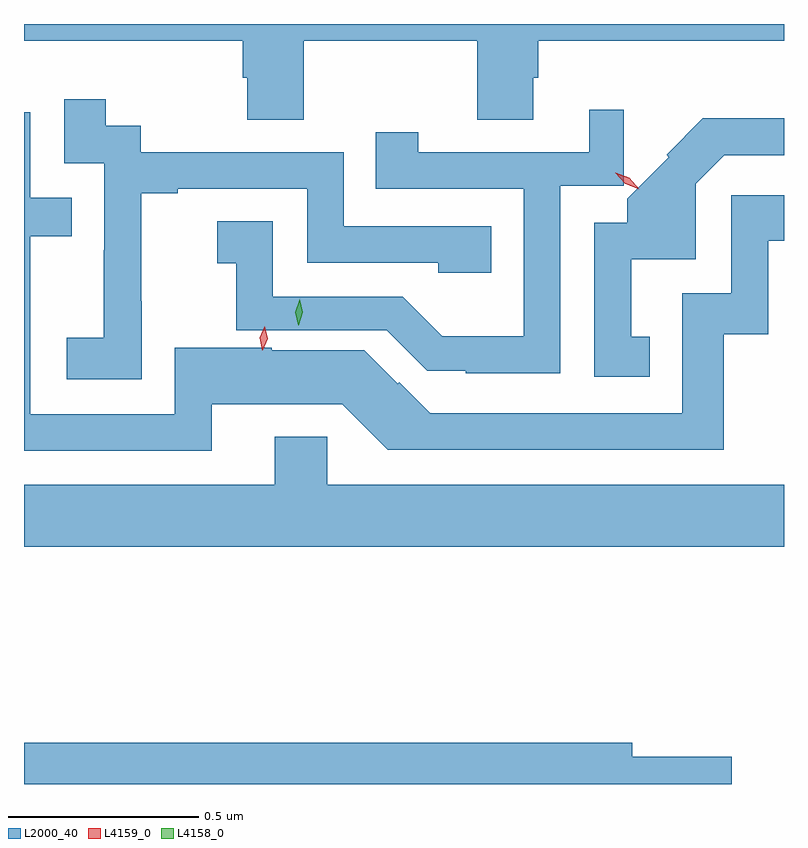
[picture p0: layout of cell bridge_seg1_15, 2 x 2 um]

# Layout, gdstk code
import gdstk
lib = gdstk.Library(unit=1e-6, precision=1e-09)
def P(c, l, *ps):  # polygons
    for p in ps: c.add(gdstk.Polygon(p, *l))
L2000_40 = (2000, 40)
L4158_0 = (4158, 0)
L4159_0 = (4159, 0)

bridge_seg1_15 = lib.new_cell('bridge_seg1_15')
P(bridge_seg1_15, L2000_40, [(842.151,511.772),(842.608,511.772),(842.608,511.564),(842.755,511.564),(842.755,511.674),(842.768,511.674),(842.768,511.772),(843.415,511.772),(843.415,511.816),(841.415,511.816),(841.415,511.772),(841.991,511.772),(841.991,511.674),(842.003,511.674),(842.003,511.564),(842.151,511.564)],
  [(841.725,511.087),(841.724,511.087),(841.724,511.371),(841.819,511.371),(841.819,511.383),(842.16,511.383),(842.16,511.188),(842.505,511.188),(842.505,511.161),(842.645,511.161),(842.645,511.284),(842.256,511.284),(842.256,511.479),(841.722,511.479),(841.722,511.548),(841.63,511.548),(841.63,511.618),(841.521,511.618),(841.521,511.449),(841.626,511.449),(841.626,511.22),(841.625,511.22),(841.625,510.991),(841.527,510.991),(841.527,510.881),(841.725,510.881)],
  [(842.826,511.391),(842.993,511.391),(842.993,511.591),(842.903,511.591),(842.903,511.479),(842.452,511.479),(842.452,511.531),(842.341,511.531),(842.341,511.383),(842.73,511.383),(842.73,510.994),(842.516,510.994),(842.412,511.098),(842.07,511.098),(842.07,511.297),(841.923,511.297),(841.923,511.187),(841.974,511.187),(841.974,511.01),(842.37,511.01),(842.476,510.903),(842.578,510.903),(842.578,510.897),(842.826,510.897)],
  [(841.909,510.815),(842.253,510.815),(842.372,510.696),(843.256,510.696),(843.256,510.999),(843.374,510.999),(843.374,511.245),(843.415,511.245),(843.415,511.366),(843.276,511.366),(843.276,511.107),(843.147,511.107),(843.147,510.792),(842.484,510.792),(842.403,510.873),(842.399,510.869),(842.311,510.958),(842.067,510.958),(842.067,510.964),(841.812,510.964),(841.812,510.789),(841.431,510.789),(841.431,511.258),(841.541,511.258),(841.541,511.359),(841.431,511.359),(841.431,511.584),(841.415,511.584),(841.415,510.693),(841.909,510.693)],
  [(843.062,510.993),(843.013,510.993),(843.013,511.197),(843.183,511.197),(843.183,511.395),(843.258,511.47),(843.415,511.47),(843.415,511.568),(843.201,511.568),(843.106,511.472),(843.112,511.466),(843.002,511.356),(843.002,511.293),(842.916,511.293),(842.916,510.888),(843.062,510.888)],
  [(843.415,510.604),(842.213,510.604),(842.213,510.73),(842.075,510.73),(842.075,510.604),(841.415,510.604),(841.415,510.44),(843.415,510.44)],
  [(843.277,509.888),(843.016,509.888),(843.016,509.924),(841.415,509.924),(841.415,509.816),(843.277,509.816)])
P(bridge_seg1_15, L4158_0, [(842.137,511.023),(842.137,511.023),(842.129,511.058),(842.141,511.092),(842.141,511.092),(842.141,511.092),(842.149,511.057),(842.138,511.023)])
P(bridge_seg1_15, L4159_0, [(843.034,511.381),(842.997,511.395),(842.971,511.425),(842.971,511.425),(842.972,511.425),(843.008,511.412),(843.034,511.381),(843.034,511.381)],
  [(842.042,510.958),(842.042,510.958),(842.036,510.99),(842.048,511.02),(842.049,511.02),(842.049,511.02),(842.056,510.988),(842.043,510.958)])

lib.write_gds('bridge_seg1_15.gds')
